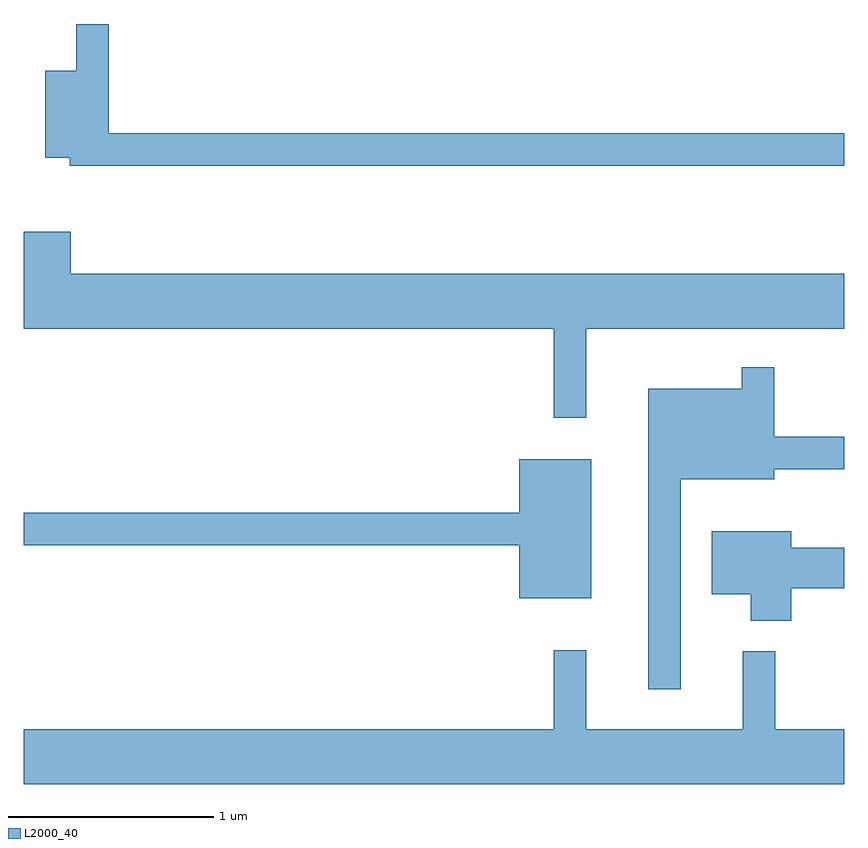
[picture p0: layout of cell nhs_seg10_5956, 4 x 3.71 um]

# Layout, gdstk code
import gdstk
lib = gdstk.Library(unit=1e-6, precision=1e-09)
def P(c, l, *ps):  # polygons
    for p in ps: c.add(gdstk.Polygon(p, *l))
L2000_40 = (2000, 40)

nhs_seg10_5956 = lib.new_cell('nhs_seg10_5956')
P(nhs_seg10_5956, L2000_40, [(365.611,2105.989),(362.024,2105.989),(362.024,2106.522),(361.866,2106.522),(361.866,2106.294),(361.716,2106.294),(361.716,2105.871),(361.836,2105.871),(361.836,2105.831),(365.611,2105.831)],
  [(364.354,2105.036),(365.611,2105.036),(365.611,2105.304),(361.839,2105.304),(361.839,2105.509),(361.611,2105.509),(361.611,2105.036),(364.196,2105.036),(364.196,2104.603),(364.354,2104.603)],
  [(364.814,2104.301),(365.269,2104.301),(365.269,2104.351),(365.611,2104.351),(365.611,2104.509),(365.269,2104.509),(365.269,2104.848),(365.111,2104.848),(365.111,2104.744),(364.656,2104.744),(364.656,2103.278),(364.814,2103.278)],
  [(364.379,2104.399),(364.026,2104.399),(364.026,2104.139),(361.611,2104.139),(361.611,2103.981),(364.026,2103.981),(364.026,2103.721),(364.379,2103.721)],
  [(365.354,2103.771),(365.611,2103.771),(365.611,2103.969),(365.354,2103.969),(365.354,2104.049),(364.966,2104.049),(364.966,2103.741),(365.156,2103.741),(365.156,2103.611),(365.354,2103.611)],
  [(365.611,2103.084),(365.274,2103.084),(365.274,2103.463),(365.116,2103.463),(365.116,2103.084),(364.354,2103.084),(364.354,2103.468),(364.196,2103.468),(364.196,2103.084),(361.611,2103.084),(361.611,2102.816),(365.611,2102.816)])

lib.write_gds('nhs_seg10_5956.gds')
